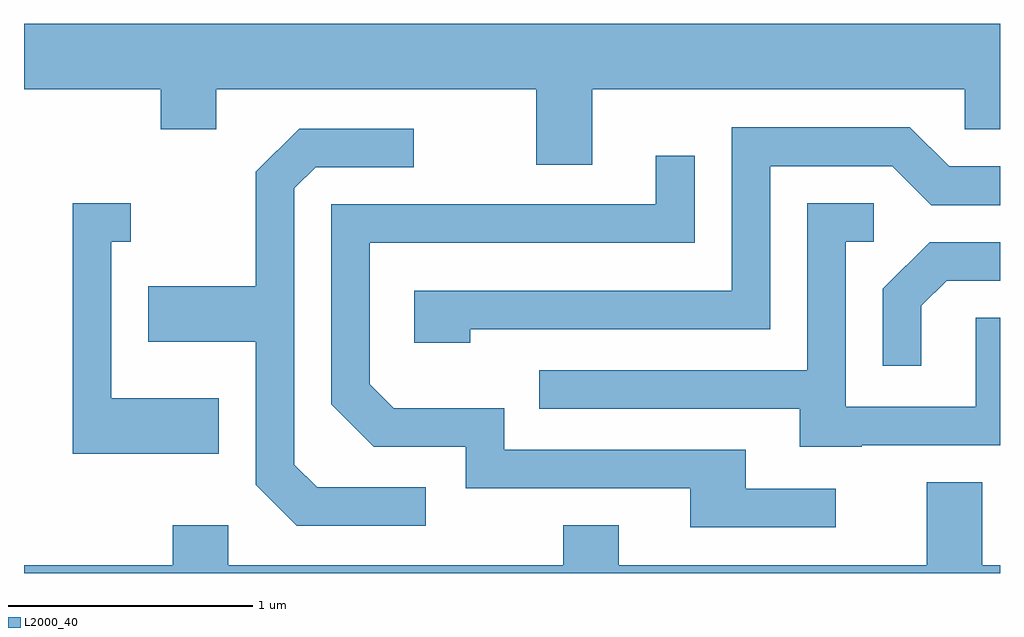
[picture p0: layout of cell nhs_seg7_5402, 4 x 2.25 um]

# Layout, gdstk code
import gdstk
lib = gdstk.Library(unit=1e-6, precision=1e-09)
def P(c, l, *ps):  # polygons
    for p in ps: c.add(gdstk.Polygon(p, *l))
L2000_40 = (2000, 40)

nhs_seg7_5402 = lib.new_cell('nhs_seg7_5402')
P(nhs_seg7_5402, L2000_40, [(351.939,1794.236),(353.466,1794.236),(353.466,1794.071),(353.611,1794.071),(353.611,1794.504),(349.611,1794.504),(349.611,1794.236),(350.171,1794.236),(350.171,1794.071),(350.399,1794.071),(350.399,1794.236),(351.711,1794.236),(351.711,1793.926),(351.939,1793.926)],
  [(351.439,1793.251),(352.669,1793.251),(352.669,1793.921),(353.169,1793.921),(353.329,1793.761),(353.611,1793.761),(353.611,1793.919),(353.402,1793.919),(353.242,1794.079),(352.511,1794.079),(352.511,1793.409),(351.211,1793.409),(351.211,1793.196),(351.439,1793.196)],
  [(351.258,1792.604),(350.812,1792.604),(350.719,1792.697),(350.719,1793.829),(350.807,1793.916),(351.208,1793.916),(351.208,1794.074),(350.739,1794.074),(350.561,1793.897),(350.561,1793.429),(350.121,1793.429),(350.121,1793.201),(350.561,1793.201),(350.561,1792.614),(350.729,1792.446),(351.258,1792.446)],
  [(352.938,1792.599),(352.569,1792.599),(352.569,1792.759),(351.579,1792.759),(351.579,1792.929),(351.127,1792.929),(351.029,1793.027),(351.029,1793.606),(352.359,1793.606),(352.359,1793.963),(352.201,1793.963),(352.201,1793.764),(350.871,1793.764),(350.871,1792.944),(351.044,1792.771),(351.421,1792.771),(351.421,1792.601),(352.341,1792.601),(352.341,1792.441),(352.938,1792.441)],
  [(353.045,1792.776),(353.611,1792.776),(353.611,1793.299),(353.511,1793.299),(353.511,1792.934),(352.979,1792.934),(352.979,1793.611),(353.093,1793.611),(353.093,1793.769),(352.821,1793.769),(352.821,1793.084),(351.723,1793.084),(351.723,1792.926),(352.791,1792.926),(352.791,1792.771),(353.045,1792.771)],
  [(350.409,1792.969),(349.969,1792.969),(349.969,1793.611),(350.048,1793.611),(350.048,1793.769),(349.811,1793.769),(349.811,1792.741),(350.409,1792.741)],
  [(353.289,1793.349),(353.392,1793.451),(353.611,1793.451),(353.611,1793.609),(353.324,1793.609),(353.131,1793.417),(353.131,1793.103),(353.289,1793.103)],
  [(353.611,1792.284),(353.539,1792.284),(353.539,1792.624),(353.311,1792.624),(353.311,1792.284),(352.049,1792.284),(352.049,1792.449),(351.821,1792.449),(351.821,1792.284),(350.449,1792.284),(350.449,1792.449),(350.221,1792.449),(350.221,1792.284),(349.611,1792.284),(349.611,1792.252),(353.611,1792.252)])

lib.write_gds('nhs_seg7_5402.gds')
